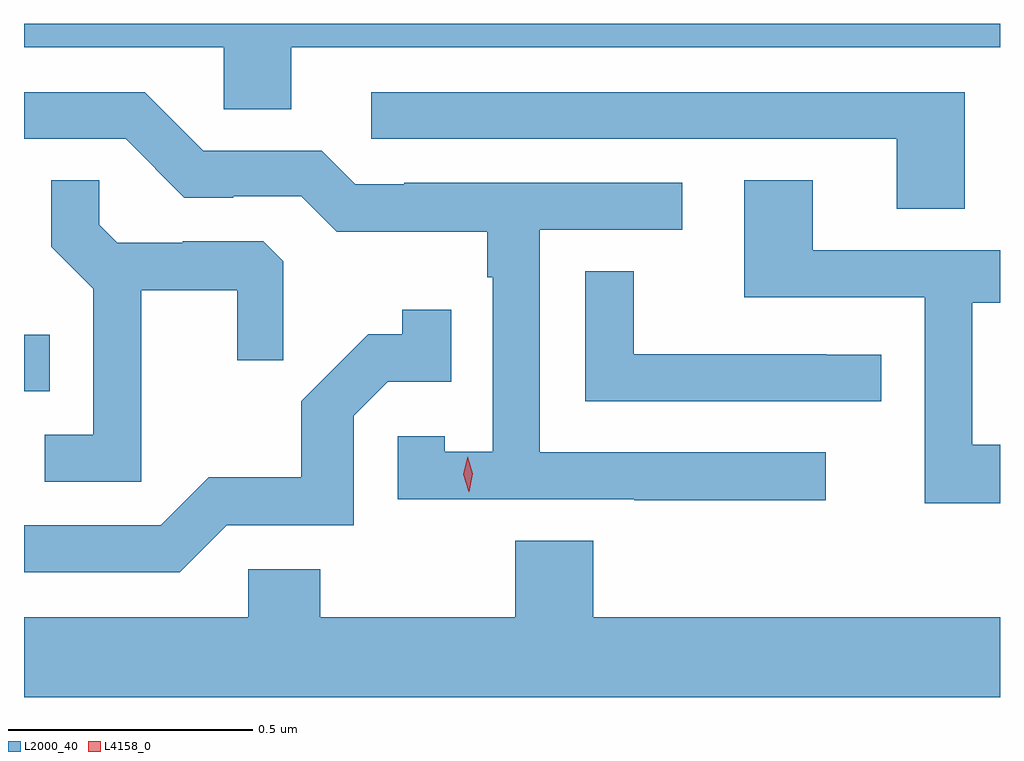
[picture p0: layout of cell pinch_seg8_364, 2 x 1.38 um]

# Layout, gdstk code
import gdstk
lib = gdstk.Library(unit=1e-6, precision=1e-09)
def R(c, l, rs):  # rectangles x0, y0, x1, y1
    for r in rs: c.add(gdstk.rectangle(r[:2], r[2:], *l))
def P(c, l, *ps):  # polygons
    for p in ps: c.add(gdstk.Polygon(p, *l))
L2000_40 = (2000, 40)
L4158_0 = (4158, 0)

pinch_seg8_364 = lib.new_cell('pinch_seg8_364')
R(pinch_seg8_364, L2000_40, [(370.007,1163.747,370.06,1163.863)])
P(pinch_seg8_364, L2000_40, [(370.555,1164.452),(372.007,1164.452),(372.007,1164.5),(370.007,1164.5),(370.007,1164.452),(370.416,1164.452),(370.416,1164.325),(370.555,1164.325)],
  [(371.65,1163.622),(371.064,1163.622),(371.064,1164.078),(371.356,1164.078),(371.356,1164.174),(370.786,1164.174),(370.786,1164.171),(370.686,1164.171),(370.617,1164.24),(370.374,1164.24),(370.254,1164.36),(370.007,1164.36),(370.007,1164.264),(370.215,1164.264),(370.335,1164.144),(370.436,1164.144),(370.436,1164.147),(370.575,1164.147),(370.648,1164.074),(370.956,1164.074),(370.956,1163.981),(370.968,1163.981),(370.968,1163.623),(370.869,1163.623),(370.869,1163.655),(370.773,1163.655),(370.773,1163.526),(371.257,1163.526),(371.257,1163.524),(371.65,1163.524)],
  [(371.935,1164.36),(370.719,1164.36),(370.719,1164.264),(371.795,1164.264),(371.795,1164.121),(371.935,1164.121)],
  [(370.247,1163.954),(370.444,1163.954),(370.444,1163.811),(370.538,1163.811),(370.538,1164.013),(370.497,1164.054),(370.332,1164.054),(370.332,1164.051),(370.198,1164.051),(370.161,1164.088),(370.161,1164.179),(370.063,1164.179),(370.063,1164.043),(370.149,1163.957),(370.149,1163.658),(370.05,1163.658),(370.05,1163.562),(370.247,1163.562)],
  [(372.007,1163.637),(371.95,1163.637),(371.95,1163.928),(372.007,1163.928),(372.007,1164.036),(371.623,1164.036),(371.623,1164.179),(371.483,1164.179),(371.483,1163.94),(371.853,1163.94),(371.853,1163.517),(372.007,1163.517)],
  [(371.764,1163.822),(371.651,1163.822),(371.651,1163.823),(371.256,1163.823),(371.256,1163.993),(371.157,1163.993),(371.157,1163.727),(371.764,1163.727)],
  [(370.422,1163.472),(370.683,1163.472),(370.683,1163.697),(370.752,1163.766),(370.883,1163.766),(370.883,1163.914),(370.782,1163.914),(370.782,1163.864),(370.712,1163.864),(370.575,1163.726),(370.575,1163.571),(370.386,1163.571),(370.287,1163.472),(370.007,1163.472),(370.007,1163.376),(370.326,1163.376)],
  [(372.007,1163.284),(371.174,1163.284),(371.174,1163.441),(371.014,1163.441),(371.014,1163.284),(370.614,1163.284),(370.614,1163.382),(370.467,1163.382),(370.467,1163.284),(370.007,1163.284),(370.007,1163.12),(372.007,1163.12)])
P(pinch_seg8_364, L4158_0, [(370.918,1163.541),(370.918,1163.541),(370.907,1163.577),(370.916,1163.613),(370.916,1163.613),(370.916,1163.613),(370.927,1163.578),(370.919,1163.541)])

lib.write_gds('pinch_seg8_364.gds')
